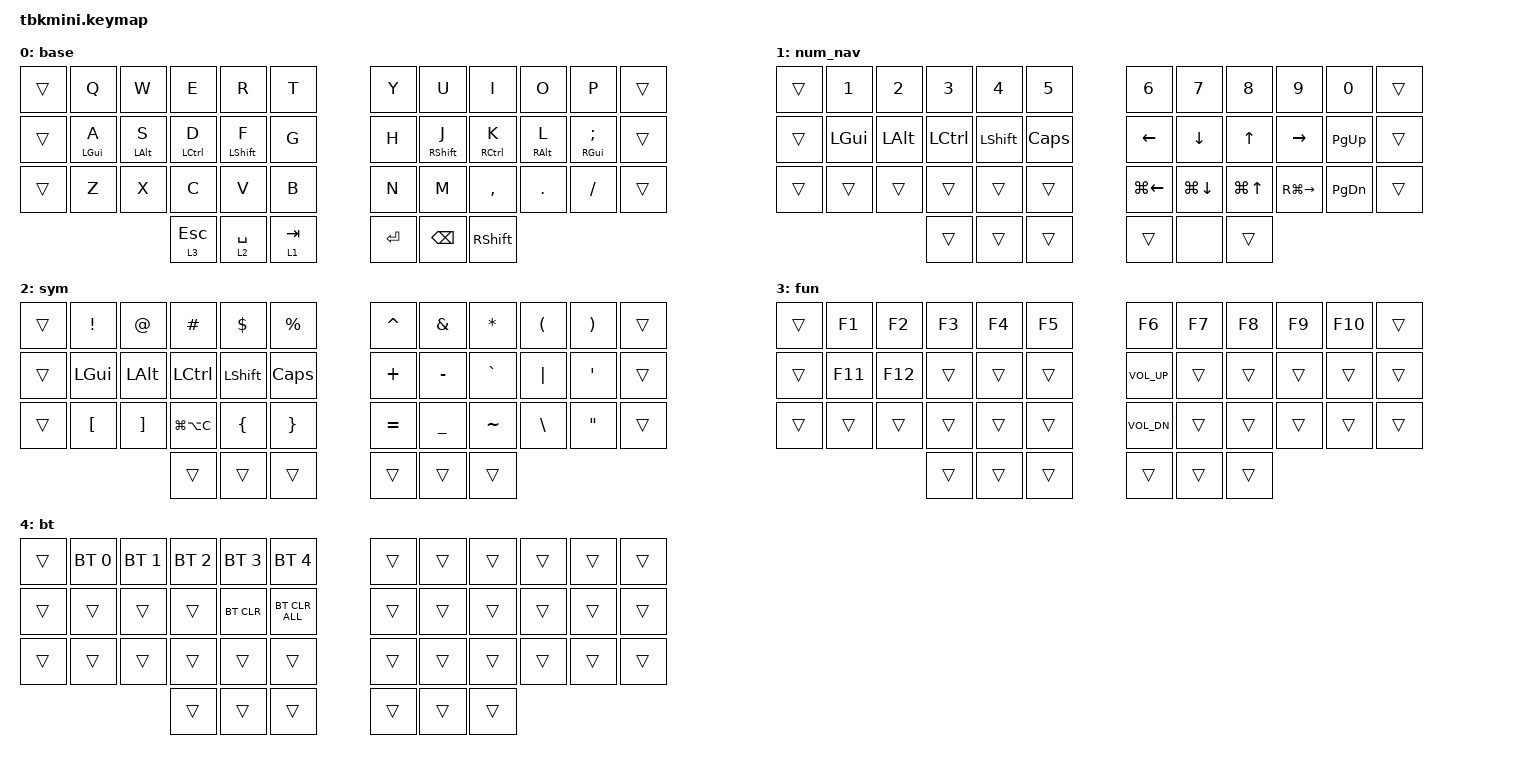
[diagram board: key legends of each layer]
/*
 * Copyright (c) 2020 The ZMK Contributors
 *
 * SPDX-License-Identifier: MIT
 */

#include <behaviors.dtsi>
#include <dt-bindings/zmk/bt.h>
#include <dt-bindings/zmk/keys.h>

#define LOWER 1
#define RAISE 2
#define ADJUST 3
#define NUMBERS 4
#define BT0 BT_SEL 0
#define BT1 BT_SEL 1
#define BT2 BT_SEL 2
#define BT3 BT_SEL 3
#define BT4 BT_SEL 4

&lt {
    flavor = "hold-preferred";
    quick-tap-ms = <150>;
};

/ {
    conditional_layers {
        compatible = "zmk,conditional-layers";

        bt {
            if-layers = <1 2>;
            then-layer = <4>;
        };
    };

    combos {
        compatible = "zmk,combos";

        backslash {
            bindings = <&kp BACKSLASH>;
            key-positions = <4 17>;
            timeout-ms = <30>;
        };

        enter {
            bindings = <&kp ENTER>;
            key-positions = <19 20>;
            timeout-ms = <30>;
        };

        back {
            bindings = <&kp BACKSPACE>;
            key-positions = <20 21>;
            timeout-ms = <30>;
        };

        del {
            bindings = <&kp DELETE>;
            key-positions = <33 32>;
            timeout-ms = <30>;
        };

        esc {
            bindings = <&kp ESCAPE>;
            key-positions = <14 15>;
            timeout-ms = <30>;
        };

        tab {
            bindings = <&kp TAB>;
            key-positions = <16 15>;
            timeout-ms = <30>;
        };

        copy {
            bindings = <&kp LG(C)>;
            key-positions = <27 26>;
            timeout-ms = <30>;
        };

        paste {
            bindings = <&kp LG(V)>;
            key-positions = <27 28>;
            timeout-ms = <30>;
        };

        slash {
            bindings = <&kp SLASH>;
            key-positions = <18 7>;
            timeout-ms = <30>;
        };
    };

    behaviors {
        hm: hm {
            compatible = "zmk,behavior-hold-tap";
            label = "HM";
            bindings = <&kp>, <&kp>;

            #binding-cells = <2>;
            tapping-term-ms = <200>;
            quick-tap-ms = <180>;
            flavor = "tap-preferred";
            retro-tap;
        };

        hml: hml {
            compatible = "zmk,behavior-hold-tap";
            label = "HML";
            bindings = <&kp>, <&kp>;

            #binding-cells = <2>;
            tapping-term-ms = <280>;
            quick-tap-ms = <175>;
            require-prior-idle-ms = <150>;
            flavor = "balanced";
            hold-trigger-on-release;
            hold-trigger-key-positions = <36 37 38 39 40 41 9 21 10 22 34 33 32 20 8 7 19 31 30 18 6 5 17 29 28 27 26 25 1 2 3 4>;
        };

        hmr: hmr {
            compatible = "zmk,behavior-hold-tap";
            label = "HMR";
            bindings = <&kp>, <&kp>;

            #binding-cells = <2>;
            tapping-term-ms = <280>;
            quick-tap-ms = <175>;
            require-prior-idle-ms = <150>;
            flavor = "balanced";
            hold-trigger-on-release;
            hold-trigger-key-positions = <1 13 25 26 14 2 3 15 27 28 16 4 5 17 29 30 6 18 36 37 37 38 39 40 41 7 8 9 10 31 32 33 34>;
        };
    };

    keymap {
        compatible = "zmk,keymap";

        base {
            // -----------------------------------------------------------------------------------------
            // |  TAB |  Q  |  W  |  E  |  R  |  T  |   |  Y  |  U   |  I  |  O  |  P  | BKSP |
            // | CTRL |  A  |  S  |  D  |  F  |  G  |   |  H  |  J   |  K  |  L  |  ;  |  '   |
            // | SHFT |  Z  |  X  |  C  |  V  |  B  |   |  N  |  M   |  ,  |  .  |  /  | ESC  |
            //                    | GUI | LWR | SPC |   | ENT | RSE  | ALT |

            bindings = <
&trans  &kp Q            &kp W            &kp E         &kp R              &kp T      &kp Y      &kp U               &kp I            &kp O             &kp P                &trans
&trans  &hml LEFT_GUI A  &hml LEFT_ALT S  &hml LCTRL D  &hml LEFT_SHIFT F  &kp G      &kp H      &hmr RIGHT_SHIFT J  &hmr RCTRL K     &hmr RIGHT_ALT L  &hmr RIGHT_GUI SEMI  &trans
&trans  &kp Z            &kp X            &kp C         &kp V              &kp B      &kp N      &kp M               &kp COMMA        &kp DOT           &kp FSLH             &trans
                                          &lt 3 ESCAPE  &lt 2 SPACE        &lt 1 TAB  &kp ENTER  &kp BACKSPACE       &kp RIGHT_SHIFT
            >;
        };

        num_nav {
            // -----------------------------------------------------------------------------------------
            // |  TAB |  1  |  2  |  3  |  4  |  5  |   |  6  |  7  |  8  |  9  |  0  | BKSP |
            // | BTCLR| BT1 | BT2 | BT3 | BT4 | BT5 |   | LFT | DWN |  UP | RGT |     |      |
            // | SHFT |     |     |     |     |     |   |     |     |     |     |     |      |
            //                    | GUI |     | SPC |   | ENT |     | ALT |

            bindings = <
&trans  &kp N1        &kp N2        &kp N3     &kp N4          &kp N5        &kp N6        &kp N7              &kp N8            &kp N9         &kp N0         &trans
&trans  &kp LEFT_GUI  &kp LEFT_ALT  &kp LCTRL  &kp LEFT_SHIFT  &kp CAPSLOCK  &kp LEFT      &kp DOWN            &kp UP            &kp RIGHT      &kp PAGE_UP    &trans
&trans  &trans        &trans        &trans     &trans          &trans        &kp LG(LEFT)  &kp LG(DOWN_ARROW)  &kp LG(UP_ARROW)  &kp RG(RIGHT)  &kp PAGE_DOWN  &trans
                                    &trans     &trans          &trans        &trans        &none               &trans
            >;
        };

        sym {
            // -----------------------------------------------------------------------------------------
            // |  TAB |  !  |  @  |  #  |  $  |  %  |   |  ^  |  &  |  *  |  (  |  )  | DEL  |
            // | CTRL |     |     |     |     |     |   |  -  |  =  |  [  |  ]  |  \  |  `   |
            // | SHFT |     |     |     |     |     |   |  _  |  +  |  {  |  }  | "|" |  ~   |
            //                    | GUI |     | SPC |   | ENT |     | ALT |

            bindings = <
&trans  &kp EXCL          &kp AT             &kp HASH       &kp DLLR        &kp PRCNT        &kp CARET  &kp AMPS   &kp ASTERISK  &kp LPAR       &kp RPAR           &trans
&trans  &kp LEFT_GUI      &kp LEFT_ALT       &kp LCTRL      &kp LEFT_SHIFT  &kp CAPSLOCK     &kp PLUS   &kp MINUS  &kp GRAVE     &kp PIPE       &kp APOS           &trans
&trans  &kp LEFT_BRACKET  &kp RIGHT_BRACKET  &kp LG(LA(C))  &kp LEFT_BRACE  &kp RIGHT_BRACE  &kp EQUAL  &kp UNDER  &kp TILDE     &kp BACKSLASH  &kp DOUBLE_QUOTES  &trans
                                             &trans         &trans          &trans           &trans     &trans     &trans
            >;
        };

        fun {
            bindings = <
&trans  &kp F1   &kp F2   &kp F3  &kp F4  &kp F5  &kp F6        &kp F7  &kp F8  &kp F9  &kp F10  &trans
&trans  &kp F11  &kp F12  &trans  &trans  &trans  &kp C_VOL_UP  &trans  &trans  &trans  &trans   &trans
&trans  &trans   &trans   &trans  &trans  &trans  &kp C_VOL_DN  &trans  &trans  &trans  &trans   &trans
                          &trans  &trans  &trans  &trans        &trans  &trans
            >;
        };

        bt {
            bindings = <
&trans  &bt BT_SEL 0  &bt BT_SEL 1  &bt BT_SEL 2  &bt BT_SEL 3  &bt BT_SEL 4    &trans  &trans  &trans  &trans  &trans  &trans
&trans  &trans        &trans        &trans        &bt BT_CLR    &bt BT_CLR_ALL  &trans  &trans  &trans  &trans  &trans  &trans
&trans  &trans        &trans        &trans        &trans        &trans          &trans  &trans  &trans  &trans  &trans  &trans
                                    &trans        &trans        &trans          &trans  &trans  &trans
            >;
        };
    };
};
